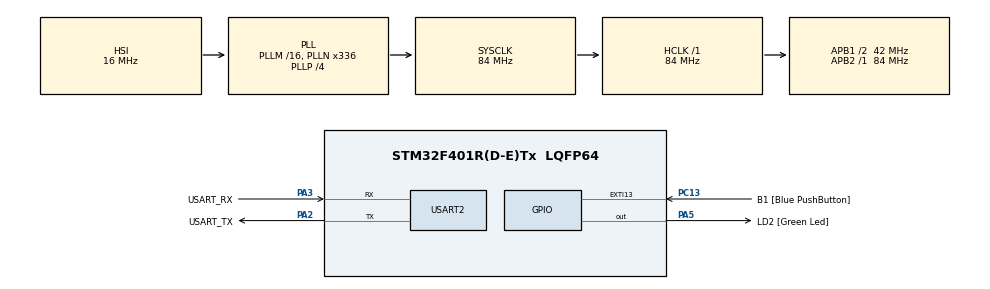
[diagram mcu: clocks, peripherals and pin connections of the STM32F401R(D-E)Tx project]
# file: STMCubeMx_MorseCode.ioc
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Mcu.Family=STM32F4
Mcu.Name=STM32F401R(D-E)Tx
Mcu.Package=LQFP64
NVIC.PriorityGroup=NVIC_PRIORITYGROUP_0
PA13.GPIO_Label=TMS
PA13.Mode=Serial_Wire
PA13.Signal=SYS_JTMS-SWDIO
PA14.GPIO_Label=TCK
PA14.Mode=Serial_Wire
PA14.Signal=SYS_JTCK-SWCLK
PA2.GPIO_Label=USART_TX
PA2.GPIO_Mode=GPIO_MODE_AF_PP
PA2.GPIO_PuPd=GPIO_NOPULL
PA2.GPIO_Speed=GPIO_SPEED_FREQ_LOW
PA2.Mode=Asynchronous
PA2.Signal=USART2_TX
PA3.GPIO_Label=USART_RX
PA3.GPIO_Mode=GPIO_MODE_AF_PP
PA3.GPIO_PuPd=GPIO_NOPULL
PA3.GPIO_Speed=GPIO_SPEED_FREQ_LOW
PA3.Mode=Asynchronous
PA3.Signal=USART2_RX
PA5.GPIO_Label=LD2 [Green Led]
PA5.GPIO_Mode=GPIO_MODE_OUTPUT_PP
PA5.GPIO_PuPd=GPIO_NOPULL
PA5.GPIO_Speed=GPIO_SPEED_FREQ_LOW
PA5.Signal=GPIO_Output
PB3.GPIO_Label=SWO
PB3.Signal=SYS_JTDO-SWO
PC13-ANTI_TAMP.GPIO_Label=B1 [Blue PushButton]
PC13-ANTI_TAMP.GPIO_ModeDefaultEXTI=GPIO_MODE_IT_FALLING
PC13-ANTI_TAMP.GPIO_PuPd=GPIO_NOPULL
PC13-ANTI_TAMP.Signal=GPXTI13
PC14-OSC32_IN.Mode=LSE-External-Oscillator
PC14-OSC32_IN.Signal=RCC_OSC32_IN
PC15-OSC32_OUT.Mode=LSE-External-Oscillator
PC15-OSC32_OUT.Signal=RCC_OSC32_OUT
PH0\ -\ OSC_IN.Mode=HSE-External-Clock-Source
PH0\ -\ OSC_IN.Signal=RCC_OSC_IN
PH1\ -\ OSC_OUT.Mode=HSE-External-Clock-Source
PH1\ -\ OSC_OUT.Signal=RCC_OSC_OUT
ProjectManager.HeapSize=0x200
ProjectManager.StackSize=0x400
ProjectManager.TargetToolchain=EWARM V8
RCC.48MHZClocksFreq_Value=48000000
RCC.AHBFreq_Value=84000000
RCC.APB1CLKDivider=RCC_HCLK_DIV2
RCC.APB1Freq_Value=42000000
RCC.APB1TimFreq_Value=84000000
RCC.APB2Freq_Value=84000000
RCC.APB2TimFreq_Value=84000000
RCC.CortexFreq_Value=84000000
RCC.HCLKFreq_Value=84000000
RCC.HSE_VALUE=8000000
RCC.HSI_VALUE=16000000
RCC.PLLN=336
RCC.PLLP=RCC_PLLP_DIV4
RCC.PLLQ=7
RCC.SYSCLKFreq_VALUE=84000000
RCC.SYSCLKSource=RCC_SYSCLKSOURCE_PLLCLK
RCC.VCOOutputFreq_Value=336000000
USART2.VirtualMode=VM_ASYNC
board=NUCLEO-F401RE

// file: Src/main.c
/**
  ******************************************************************************
  * @file           : main.c
  * @brief          : Main program body
  ******************************************************************************
  ** This notice applies to any and all portions of this file
  * that are not between comment pairs USER CODE BEGIN and
  * USER CODE END. Other portions of this file, whether
  * inserted by the user or by software development tools
  * are owned by their respective copyright owners.
  *
  * COPYRIGHT(c) 2019 STMicroelectronics
  *
  * Redistribution and use in source and binary forms, with or without modification,
  * are permitted provided that the following conditions are met:
  *   1. Redistributions of source code must retain the above copyright notice,
  *      this list of conditions and the following disclaimer.
  *   2. Redistributions in binary form must reproduce the above copyright notice,
  *      this list of conditions and the following disclaimer in the documentation
  *      and/or other materials provided with the distribution.
  *   3. Neither the name of STMicroelectronics nor the names of its contributors
  *      may be used to endorse or promote products derived from this software
  *      without specific prior written permission.
  *
  * THIS SOFTWARE IS PROVIDED BY THE COPYRIGHT HOLDERS AND CONTRIBUTORS "AS IS"
  * AND ANY EXPRESS OR IMPLIED WARRANTIES, INCLUDING, BUT NOT LIMITED TO, THE
  * IMPLIED WARRANTIES OF MERCHANTABILITY AND FITNESS FOR A PARTICULAR PURPOSE ARE
  * DISCLAIMED. IN NO EVENT SHALL THE COPYRIGHT HOLDER OR CONTRIBUTORS BE LIABLE
  * FOR ANY DIRECT, INDIRECT, INCIDENTAL, SPECIAL, EXEMPLARY, OR CONSEQUENTIAL
  * DAMAGES (INCLUDING, BUT NOT LIMITED TO, PROCUREMENT OF SUBSTITUTE GOODS OR
  * SERVICES; LOSS OF USE, DATA, OR PROFITS; OR BUSINESS INTERRUPTION) HOWEVER
  * CAUSED AND ON ANY THEORY OF LIABILITY, WHETHER IN CONTRACT, STRICT LIABILITY,
  * OR TORT (INCLUDING NEGLIGENCE OR OTHERWISE) ARISING IN ANY WAY OUT OF THE USE
  * OF THIS SOFTWARE, EVEN IF ADVISED OF THE POSSIBILITY OF SUCH DAMAGE.
  *
  ******************************************************************************
  */
#include "main.h"
#include "stm32f4xx_hal.h"

UART_HandleTypeDef huart2;

/* USER CODE BEGIN PV */
/* Private variables ---------------------------------------------------------*/

/* USER CODE END PV */

void SystemClock_Config(void);
static void MX_GPIO_Init(void);
static void MX_USART2_UART_Init(void);

/* USER CODE BEGIN PFP */
/* Private function prototypes -----------------------------------------------*/
void hold(unsigned long delay);
void dash();
void dot();
/* USER CODE END PFP */

/* USER CODE BEGIN 0 */
/*  K   O   N  S  T  A  N T  I  N
   -*- --- -* *** - *- -* - ** -*
*/
#define UNIT 1000000
#define SPACE hold(2*UNIT)
#define K dash();  dot(); dash(); SPACE;
#define O dash(); dash(); dash(); SPACE;
#define N dash();  dot();         SPACE;
#define S  dot();  dot();  dot(); SPACE;
#define T dash();                 SPACE;
#define A  dot(); dash();         SPACE;
#define I  dot();  dot();         SPACE;
/* USER CODE END 0 */

int main(void)
{

  /* MCU Configuration----------------------------------------------------------*/

  /* Reset of all peripherals, Initializes the Flash interface and the Systick. */
  HAL_Init();

  /* Configure the system clock */
  SystemClock_Config();

  /* Initialize all configured peripherals */
  MX_GPIO_Init();
  MX_USART2_UART_Init();

  /* Infinite loop */
  while (1)
  {

  /* USER CODE BEGIN 3 */
    K O N S T A N T I N
    hold(6*UNIT);
  }
  /* USER CODE END 3 */

}

void SystemClock_Config(void)
{

  RCC_OscInitTypeDef RCC_OscInitStruct;
  RCC_ClkInitTypeDef RCC_ClkInitStruct;

    /**Configure the main internal regulator output voltage
    */
  __HAL_RCC_PWR_CLK_ENABLE();

  __HAL_PWR_VOLTAGESCALING_CONFIG(PWR_REGULATOR_VOLTAGE_SCALE2);

    /**Initializes the CPU, AHB and APB busses clocks
    */
  RCC_OscInitStruct.OscillatorType = RCC_OSCILLATORTYPE_HSI;
  RCC_OscInitStruct.HSIState = RCC_HSI_ON;
  RCC_OscInitStruct.HSICalibrationValue = 16;
  RCC_OscInitStruct.PLL.PLLState = RCC_PLL_ON;
  RCC_OscInitStruct.PLL.PLLSource = RCC_PLLSOURCE_HSI;
  RCC_OscInitStruct.PLL.PLLM = 16;
  RCC_OscInitStruct.PLL.PLLN = 336;
  RCC_OscInitStruct.PLL.PLLP = RCC_PLLP_DIV4;
  RCC_OscInitStruct.PLL.PLLQ = 7;
  if (HAL_RCC_OscConfig(&RCC_OscInitStruct) != HAL_OK)
  {
    _Error_Handler(__FILE__, __LINE__);
  }

    /**Initializes the CPU, AHB and APB busses clocks
    */
  RCC_ClkInitStruct.ClockType = RCC_CLOCKTYPE_HCLK|RCC_CLOCKTYPE_SYSCLK
                              |RCC_CLOCKTYPE_PCLK1|RCC_CLOCKTYPE_PCLK2;
  RCC_ClkInitStruct.SYSCLKSource = RCC_SYSCLKSOURCE_PLLCLK;
  RCC_ClkInitStruct.AHBCLKDivider = RCC_SYSCLK_DIV1;
  RCC_ClkInitStruct.APB1CLKDivider = RCC_HCLK_DIV2;
  RCC_ClkInitStruct.APB2CLKDivider = RCC_HCLK_DIV1;

  if (HAL_RCC_ClockConfig(&RCC_ClkInitStruct, FLASH_LATENCY_2) != HAL_OK)
  {
    _Error_Handler(__FILE__, __LINE__);
  }

    /**Configure the Systick interrupt time
    */
  HAL_SYSTICK_Config(HAL_RCC_GetHCLKFreq()/1000);

    /**Configure the Systick
    */
  HAL_SYSTICK_CLKSourceConfig(SYSTICK_CLKSOURCE_HCLK);

  /* SysTick_IRQn interrupt configuration */
  HAL_NVIC_SetPriority(SysTick_IRQn, 0, 0);
}

/* USART2 init function */
static void MX_USART2_UART_Init(void)
{

  huart2.Instance = USART2;
  huart2.Init.BaudRate = 115200;
  huart2.Init.WordLength = UART_WORDLENGTH_8B;
  huart2.Init.StopBits = UART_STOPBITS_1;
  huart2.Init.Parity = UART_PARITY_NONE;
  huart2.Init.Mode = UART_MODE_TX_RX;
  huart2.Init.HwFlowCtl = UART_HWCONTROL_NONE;
  huart2.Init.OverSampling = UART_OVERSAMPLING_16;
  if (HAL_UART_Init(&huart2) != HAL_OK)
  {
    _Error_Handler(__FILE__, __LINE__);
  }

}

/** Configure pins as
        * Analog
        * Input
        * Output
        * EVENT_OUT
        * EXTI
*/
static void MX_GPIO_Init(void)
{

  GPIO_InitTypeDef GPIO_InitStruct;

  /* GPIO Ports Clock Enable */
  __HAL_RCC_GPIOC_CLK_ENABLE();
  __HAL_RCC_GPIOH_CLK_ENABLE();
  __HAL_RCC_GPIOA_CLK_ENABLE();
  __HAL_RCC_GPIOB_CLK_ENABLE();

  /*Configure GPIO pin Output Level */
  HAL_GPIO_WritePin(LD2_GPIO_Port, LD2_Pin, GPIO_PIN_RESET);

  /*Configure GPIO pin : B1_Pin */
  GPIO_InitStruct.Pin = B1_Pin;
  GPIO_InitStruct.Mode = GPIO_MODE_IT_FALLING;
  GPIO_InitStruct.Pull = GPIO_NOPULL;
  HAL_GPIO_Init(B1_GPIO_Port, &GPIO_InitStruct);

  /*Configure GPIO pin : LD2_Pin */
  GPIO_InitStruct.Pin = LD2_Pin;
  GPIO_InitStruct.Mode = GPIO_MODE_OUTPUT_PP;
  GPIO_InitStruct.Pull = GPIO_NOPULL;
  GPIO_InitStruct.Speed = GPIO_SPEED_FREQ_LOW;
  HAL_GPIO_Init(LD2_GPIO_Port, &GPIO_InitStruct);

}

/* USER CODE BEGIN 4 */
void hold(unsigned long delay)
{
  volatile unsigned long counter = 0;
  while(++counter < delay)
  {
  }
}

void dash()
{
  HAL_GPIO_WritePin(LD2_GPIO_Port, LD2_Pin, GPIO_PIN_SET);

  hold(3 * UNIT);

  HAL_GPIO_WritePin(LD2_GPIO_Port, LD2_Pin, GPIO_PIN_RESET);

  hold(UNIT);
}

void dot()
{
  HAL_GPIO_WritePin(LD2_GPIO_Port, LD2_Pin, GPIO_PIN_SET);

  hold(UNIT);

  HAL_GPIO_WritePin(LD2_GPIO_Port, LD2_Pin, GPIO_PIN_RESET);

  hold(UNIT);
}
/* USER CODE END 4 */

void _Error_Handler(char *file, int line)
{
  while(1)
  {
  }
}

/************************ (C) COPYRIGHT STMicroelectronics *****END OF FILE****/
